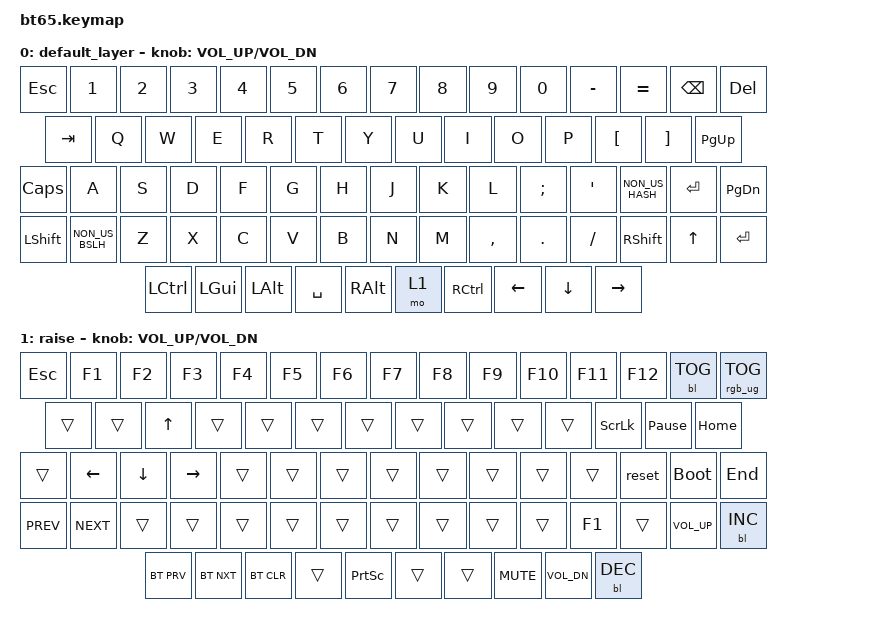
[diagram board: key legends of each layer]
#include <behaviors.dtsi>
#include <dt-bindings/zmk/keys.h>
#include <dt-bindings/zmk/bt.h>
#include <dt-bindings/zmk/rgb.h>
#include <dt-bindings/zmk/backlight.h>
#include <dt-bindings/zmk/ext_power.h>


/ {
	keymap {
		compatible = "zmk,keymap";

		default_layer {
				// ------------------------------------------------------------------------------------------------------------
				// |  `  |  1  |  2  |  3  |  4  |  5  |  6  |  7  |  8  |  9  |  0  |  -  |  =  |BKSP | INS		|
				// | TAB  |  Q  |  W  |  E  |  R  |  T  |  Y  |  U  |  I  |  O  |  P  |  [  |  ]  |   \    | DEL		|
				// | CAPS  |  A  |  S  |  D  |  F  |  G  |  H  |  J  |  K  |  L  |  ;  |  '  |     ENTER    |PGUP	|
				// |  SHIFT  |  Z  |  X  |  C  |  V  |  B  |  N  |  M  |  ,  |  .  | /   |   SHIFT  | UP   | PGDN|
				// |  CTL  |  WIN  |  ALT  |            SPACE               | ALT | 1    |  MENU| LEFT |  DOWN    | RIGHT	|
				// ------------------------------------------------------------------------------------------------------------
			bindings = <
   &kp ESC           &kp N1    &kp N2    &kp N3     &kp N4    &kp N5            &kp N6     &kp N7    &kp N8     &kp N9     &kp N0  &kp MINUS        &kp EQUAL  &kp BSPC    &kp DEL
   &kp TAB            &kp Q     &kp W     &kp E      &kp R     &kp T             &kp Y      &kp U     &kp I      &kp O      &kp P   &kp LBKT         &kp RBKT            &kp PG_UP
  &kp CLCK            &kp A     &kp S     &kp D      &kp F     &kp G             &kp H      &kp J     &kp K      &kp L   &kp SEMI    &kp SQT  &kp NON_US_HASH   &kp RET  &kp PG_DN
 &kp LSHFT  &kp NON_US_BSLH     &kp Z     &kp X      &kp C     &kp V             &kp B      &kp N     &kp M  &kp COMMA    &kp DOT   &kp FSLH        &kp RSHFT    &kp UP    &kp RET
                  &kp LCTRL  &kp LGUI  &kp LALT  &kp SPACE  &kp RALT             &mo 1  &kp RCTRL  &kp LEFT   &kp DOWN  &kp RIGHT
            >;
			sensor-bindings = <&inc_dec_kp C_VOL_UP C_VOL_DN>;
		};
		raise {
			bindings = <
    &kp ESC      &kp F1      &kp F2      &kp F3  &kp F4     &kp F5            &kp F6  &kp F7      &kp F8        &kp F9     &kp F10   &kp F11          &kp F12    &bl BL_TOG  &rgb_ug RGB_TOG
     &trans      &trans      &kp UP      &trans  &trans     &trans            &trans  &trans      &trans        &trans      &trans  &kp SLCK  &kp PAUSE_BREAK                       &kp HOME
     &trans    &kp LEFT    &kp DOWN   &kp RIGHT  &trans     &trans            &trans  &trans      &trans        &trans      &trans    &trans           &reset   &bootloader          &kp END
 &kp C_PREV  &kp C_NEXT      &trans      &trans  &trans     &trans            &trans  &trans      &trans        &trans      &trans    &kp F1           &trans  &kp C_VOL_UP       &bl BL_INC
             &bt BT_PRV  &bt BT_NXT  &bt BT_CLR  &trans  &kp PSCRN            &trans  &trans  &kp C_MUTE  &kp C_VOL_DN  &bl BL_DEC
            >;
			sensor-bindings = <&inc_dec_kp C_VOL_UP C_VOL_DN>;
		};
	};
};
